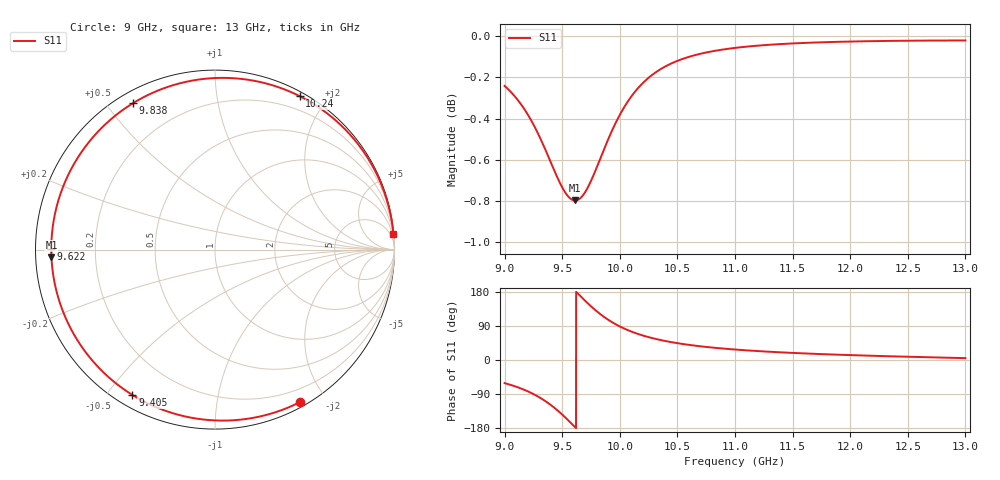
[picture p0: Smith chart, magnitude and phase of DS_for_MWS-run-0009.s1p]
! TOUCHSTONE file generated by CST DESIGN STUDIO
! Date and time: Wed Feb  5 13:46:42 2025
! Project name: C:\Work\MatlabApps\UnitCellOptimizationMatlab\CST\unitcell.cst
! Tree item: Tasks\Sweep1\SPara1\S-Parameters
! Header version: 2024
! Port assignment regex: !\s*Touchstone port\s*([0-9]+)\s*=\s*(CST MWS port|CST DES external port|CST DES block port)\s*(.+)\s* \(\"(.*)\"\)(\s*mode\s*([0-9]+))?.*
! Touchstone port assignment:
! Touchstone port 1 = CST DES external port 1 ("")
# GHz S MA R 50
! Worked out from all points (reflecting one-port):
!   4001 points, 9 GHz to 13 GHz, reference 50 ohm
!   lowest |S11| = -0.8 dB at 9.612 GHz (marker M1), VSWR 21.78, Z = 2.3 - j1.19 ohm
!   phase of S11 starts at -61 deg and turns -294 deg over the sweep
!   S11 on the Smith chart (normalised r, x): 9 GHz: 0.05, -1.70; 9.405 GHz: 0.05, -0.58; 9.622 GHz: 0.05, +0.00; 9.838 GHz: 0.05, +0.58; 10.24 GHz: 0.05, +1.69; 13 GHz: 1, +23
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9  0.9726 -61.0
9.054  0.9694 -65.8
9.126  0.9641 -73.3
9.189  0.9584 -81.0
9.25  0.9519 -89.8
9.333  0.9414 -104.3
9.405  0.9313 -119.6
9.453  0.9247 -131.3
9.5  0.9189 -144.0
9.559  0.9138 -161.1
9.612  0.9122 -177.3
9.622  0.9123 179.7
9.667  0.914 165.9
9.714  0.918 151.9
9.776  0.9258 134.7
9.838  0.935 119.3
9.913  0.9459 103.5
10  0.957 88.5
10.115  0.9682 73.3
10.24  0.9765 61.1
10.361  0.9821 52.2
10.5  0.9864 44.4
10.72  0.9906 35.4
11  0.9935 27.6
11.5  0.996 18.7
12  0.9971 12.9
12.5  0.9976 8.6
13  0.9977 5.0
